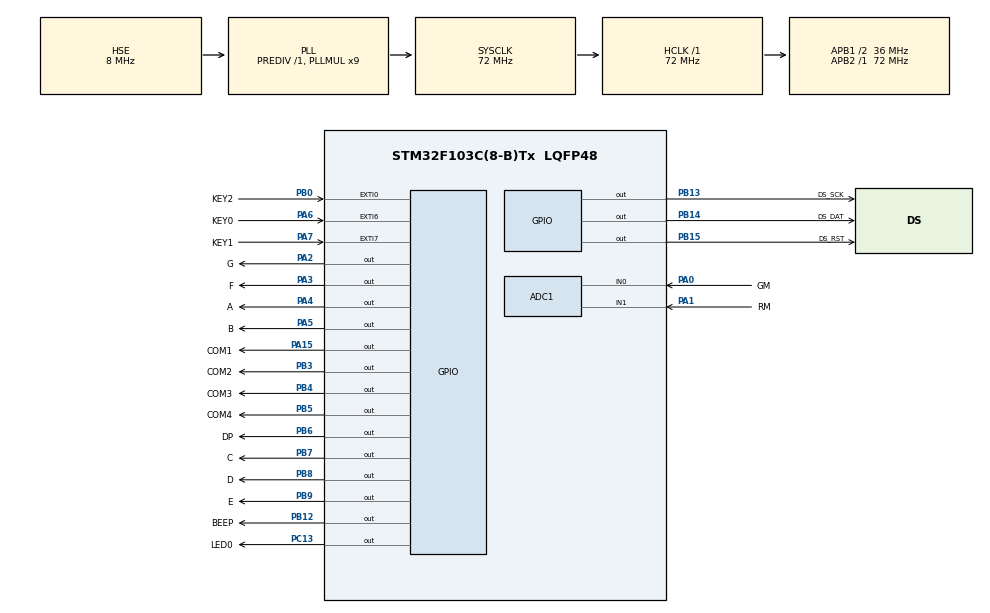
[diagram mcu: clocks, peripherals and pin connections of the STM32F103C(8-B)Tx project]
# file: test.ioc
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ADC1.Channel-0\#ChannelRegularConversion=ADC_CHANNEL_0
ADC1.NbrOfConversionFlag=1
ADC1.Rank-0\#ChannelRegularConversion=1
ADC1.SamplingTime-0\#ChannelRegularConversion=ADC_SAMPLETIME_1CYCLE_5
ADC1.master=1
Mcu.Family=STM32F1
Mcu.Name=STM32F103C(8-B)Tx
Mcu.Package=LQFP48
NVIC.EXTI0_IRQn=true\:1\:0\:true\:false\:true\:true\:true\:true
NVIC.EXTI9_5_IRQn=true\:1\:0\:true\:false\:true\:true\:true\:true
NVIC.PriorityGroup=NVIC_PRIORITYGROUP_4
NVIC.TIM1_UP_IRQn=true\:2\:0\:true\:false\:true\:true\:true\:true
NVIC.TIM2_IRQn=true\:0\:0\:false\:false\:true\:true\:true\:true
PA0-WKUP.GPIO_Label=GM
PA0-WKUP.Signal=ADCx_IN0
PA1.GPIO_Label=RM
PA1.Signal=ADCx_IN1
PA13.Mode=Serial_Wire
PA13.Signal=SYS_JTMS-SWDIO
PA14.Mode=Serial_Wire
PA14.Signal=SYS_JTCK-SWCLK
PA15.GPIO_Label=COM1
PA15.GPIO_PuPd=GPIO_PULLDOWN
PA15.GPIO_Speed=GPIO_SPEED_FREQ_HIGH
PA15.Signal=GPIO_Output
PA2.GPIO_Label=G
PA2.GPIO_PuPd=GPIO_PULLDOWN
PA2.GPIO_Speed=GPIO_SPEED_FREQ_HIGH
PA2.Signal=GPIO_Output
PA3.GPIO_Label=F
PA3.GPIO_PuPd=GPIO_PULLDOWN
PA3.GPIO_Speed=GPIO_SPEED_FREQ_HIGH
PA3.Signal=GPIO_Output
PA4.GPIO_Label=A
PA4.GPIO_PuPd=GPIO_PULLDOWN
PA4.GPIO_Speed=GPIO_SPEED_FREQ_HIGH
PA4.Signal=GPIO_Output
PA5.GPIO_Label=B
PA5.GPIO_PuPd=GPIO_PULLDOWN
PA5.GPIO_Speed=GPIO_SPEED_FREQ_HIGH
PA5.Signal=GPIO_Output
PA6.GPIO_Label=KEY0
PA6.GPIO_ModeDefaultEXTI=GPIO_MODE_IT_FALLING
PA6.GPIO_PuPd=GPIO_PULLUP
PA6.Signal=GPXTI6
PA7.GPIO_Label=KEY1
PA7.GPIO_ModeDefaultEXTI=GPIO_MODE_IT_FALLING
PA7.GPIO_PuPd=GPIO_PULLUP
PA7.Signal=GPXTI7
PB0.GPIO_Label=KEY2
PB0.GPIO_ModeDefaultEXTI=GPIO_MODE_IT_FALLING
PB0.GPIO_PuPd=GPIO_PULLUP
PB0.Signal=GPXTI0
PB12.GPIO_Label=BEEP
PB12.GPIO_PuPd=GPIO_PULLDOWN
PB12.GPIO_Speed=GPIO_SPEED_FREQ_HIGH
PB12.PinState=GPIO_PIN_RESET
PB12.Signal=GPIO_Output
PB13.GPIO_Label=DS_SCK
PB13.GPIO_PuPd=GPIO_PULLDOWN
PB13.GPIO_Speed=GPIO_SPEED_FREQ_HIGH
PB13.Signal=GPIO_Output
PB14.GPIO_Label=DS_DAT
PB14.GPIO_ModeDefaultOutputPP=GPIO_MODE_OUTPUT_OD
PB14.GPIO_PuPd=GPIO_NOPULL
PB14.GPIO_Speed=GPIO_SPEED_FREQ_HIGH
PB14.Signal=GPIO_Output
PB15.GPIO_Label=DS_RST
PB15.GPIO_ModeDefaultOutputPP=GPIO_MODE_OUTPUT_PP
PB15.GPIO_PuPd=GPIO_PULLDOWN
PB15.GPIO_Speed=GPIO_SPEED_FREQ_HIGH
PB15.Signal=GPIO_Output
PB3.GPIO_Label=COM2
PB3.GPIO_PuPd=GPIO_PULLDOWN
PB3.GPIO_Speed=GPIO_SPEED_FREQ_HIGH
PB3.Signal=GPIO_Output
PB4.GPIO_Label=COM3
PB4.GPIO_PuPd=GPIO_PULLDOWN
PB4.GPIO_Speed=GPIO_SPEED_FREQ_HIGH
PB4.Signal=GPIO_Output
PB5.GPIO_Label=COM4
PB5.GPIO_PuPd=GPIO_PULLDOWN
PB5.GPIO_Speed=GPIO_SPEED_FREQ_HIGH
PB5.Signal=GPIO_Output
PB6.GPIO_Label=DP
PB6.GPIO_PuPd=GPIO_PULLDOWN
PB6.GPIO_Speed=GPIO_SPEED_FREQ_HIGH
PB6.Signal=GPIO_Output
PB7.GPIO_Label=C
PB7.GPIO_PuPd=GPIO_PULLDOWN
PB7.GPIO_Speed=GPIO_SPEED_FREQ_HIGH
PB7.Signal=GPIO_Output
PB8.GPIO_Label=D
PB8.GPIO_PuPd=GPIO_PULLDOWN
PB8.GPIO_Speed=GPIO_SPEED_FREQ_HIGH
PB8.Signal=GPIO_Output
PB9.GPIO_Label=E
PB9.GPIO_PuPd=GPIO_PULLDOWN
PB9.GPIO_Speed=GPIO_SPEED_FREQ_HIGH
PB9.Signal=GPIO_Output
PC13-TAMPER-RTC.GPIO_Label=LED0
PC13-TAMPER-RTC.GPIO_PuPd=GPIO_PULLUP
PC13-TAMPER-RTC.GPIO_Speed=GPIO_SPEED_FREQ_HIGH
PC13-TAMPER-RTC.PinState=GPIO_PIN_SET
PC13-TAMPER-RTC.Signal=GPIO_Output
PC14-OSC32_IN.Mode=LSE-External-Oscillator
PC14-OSC32_IN.Signal=RCC_OSC32_IN
PC15-OSC32_OUT.Mode=LSE-External-Oscillator
PC15-OSC32_OUT.Signal=RCC_OSC32_OUT
PD0-OSC_IN.Mode=HSE-External-Oscillator
PD0-OSC_IN.Signal=RCC_OSC_IN
PD1-OSC_OUT.Mode=HSE-External-Oscillator
PD1-OSC_OUT.Signal=RCC_OSC_OUT
ProjectManager.HeapSize=0x200
ProjectManager.StackSize=0x400
ProjectManager.TargetToolchain=MDK-ARM V5.32
RCC.ADCPresc=RCC_ADCPCLK2_DIV6
RCC.AHBFreq_Value=72000000
RCC.APB1CLKDivider=RCC_HCLK_DIV2
RCC.APB1Freq_Value=36000000
RCC.APB1TimFreq_Value=72000000
RCC.APB2Freq_Value=72000000
RCC.APB2TimFreq_Value=72000000
RCC.HCLKFreq_Value=72000000
RCC.PLLMUL=RCC_PLL_MUL9
RCC.PLLSourceVirtual=RCC_PLLSOURCE_HSE
RCC.SYSCLKFreq_VALUE=72000000
RCC.SYSCLKSource=RCC_SYSCLKSOURCE_PLLCLK
RCC.USBFreq_Value=72000000
SH.ADCx_IN0.0=ADC1_IN0,IN0
SH.ADCx_IN1.0=ADC1_IN1,IN1
TIM1.Period=5000-1
TIM1.Prescaler=7200-1
TIM2.Period=3400-1
TIM2.Prescaler=72-1
VP_TIM1_VS_ClockSourceINT.Mode=Internal
VP_TIM2_VS_ClockSourceINT.Mode=Internal
board=custom

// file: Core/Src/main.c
/* USER CODE BEGIN Header */
/**
  ******************************************************************************
  * @file           : main.c
  * @brief          : Main program body
  ******************************************************************************
  * @attention
  *
  * Copyright (c) 2023 STMicroelectronics.
  * All rights reserved.
  *
  * This software is licensed under terms that can be found in the LICENSE file
  * in the root directory of this software component.
  * If no LICENSE file comes with this software, it is provided AS-IS.
  *
  ******************************************************************************
  */
/* USER CODE END Header */
#include "main.h"
#include "adc.h"
#include "tim.h"
#include "gpio.h"

/* USER CODE BEGIN Includes */
#include "DS1302.h"
#include "Digit.h"
#include "delay.h"

/* USER CODE END Includes */

/* USER CODE BEGIN PV */

uint8_t show_data[4]={0};
uint8_t tim1_flag=0,clk_s=0,change_flag=0,isBeep=0,isAlarm=0,isAlarmOn=0;
uint8_t state=0,state_changed=0,isSettingAlarm=0;
uint8_t index=0;
extern struct TIMEData TimeData;
uint8_t set_minute=0,set_hour=0;
uint8_t alarm_hour=0,alarm_minute=0;
/* USER CODE END PV */

void SystemClock_Config(void);

int main(void)
{
  /* USER CODE BEGIN 1 */
     u8 min=0;
  /* USER CODE END 1 */

  /* MCU Configuration--------------------------------------------------------*/

  /* Reset of all peripherals, Initializes the Flash interface and the Systick. */
  HAL_Init();

  /* Configure the system clock */
  SystemClock_Config();

  /* Initialize all configured peripherals */
  MX_GPIO_Init();
  MX_ADC1_Init();
  MX_TIM1_Init();
  MX_TIM2_Init();
  /* USER CODE BEGIN 2 */

     delay_init(72);
//     ds1302_init();
    delay_ms(5);
     ds1302_read_realTime();
     min=TimeData.minute;
     show_data[3]=TimeData.minute%10+0x30;
     show_data[2]=TimeData.minute/10+0x30;
     show_data[1]=TimeData.hour%10+0x30;
     show_data[0]=TimeData.hour/10+0x30;

     delay_ms(5);
       HAL_TIM_Base_Start_IT(&htim1);
  HAL_TIM_Base_Start_IT(&htim2);
  /* USER CODE END 2 */

  /* Infinite loop */
  while (1)
  {

    /* USER CODE BEGIN 3 */
//       HAL_Delay(1000);
//       HAL_GPIO_TogglePin(GPIOC,GPIO_PIN_13);
       if(state_changed){
            state_changed=0;
//            isBeep=1;
            set_minute=TimeData.minute;
            set_hour=TimeData.hour;
       }
       if(isAlarm) state=7;

     switch(state){
          case 0:

                    show_data[3]=TimeData.minute%10+0x30;
                    show_data[2]=TimeData.minute/10+0x30;
                    show_data[1]=TimeData.hour%10+0x30;
                    show_data[0]=TimeData.hour/10+0x30;      //state 0  显示当前时间

          break;
          case 1:                                        // state1 校准小时

              if(tim1_flag){
                    show_data[3]=TimeData.minute%10+0x30;
                    show_data[2]=TimeData.minute/10+0x30;
                   show_data[1]=set_hour%10+0x30;
                    show_data[0]=set_hour/10+0x30;
              }
              else {
                   show_data[3]=TimeData.minute%10+0x30;
                    show_data[2]=TimeData.minute/10+0x30;
                  show_data[1]=0;
                    show_data[0]=0;

              }
              if(change_flag==1) set_hour=(set_hour+1)%24;
              else  if(change_flag==2) {
                   set_hour=(set_hour==0)?(23):(set_hour-1);

              }
              change_flag=0;

              ds1302_write_time(set_hour,TimeData.minute);

          break;
          case 2:                             //state2 校准分钟
               if(tim1_flag){
                    show_data[1]=TimeData.hour%10+0x30;
                    show_data[0]=TimeData.hour/10+0x30;
                   show_data[3]=set_minute%10+0x30;
                    show_data[2]=set_minute/10+0x30;
              }
              else {
                   show_data[1]=TimeData.hour%10+0x30;
                    show_data[0]=TimeData.hour/10+0x30;
                  show_data[3]=0;
                    show_data[2]=0;

              }
              if(change_flag==1) set_minute=(set_minute+1)%60;
              else  if(change_flag==2) {
                   set_minute=(set_minute==0)?(59):(set_minute-1);

              }
              change_flag=0;

              ds1302_write_time(TimeData.hour,set_minute);

          break;
          case 4:
               if(tim1_flag){
                    show_data[3]=TimeData.minute%10+0x30;
                    show_data[2]=TimeData.minute/10+0x30;
                   show_data[1]=alarm_hour%10+0x30;
                    show_data[0]=alarm_hour/10+0x30;
              }
              else {
                   show_data[3]=TimeData.minute%10+0x30;
                    show_data[2]=TimeData.minute/10+0x30;
                  show_data[1]=0;
                    show_data[0]=0;

              }
              if(change_flag==1) alarm_hour=(alarm_hour+1)%24;
              else  if(change_flag==2) {
                   alarm_hour=(alarm_hour==0)?(23):(alarm_hour-1);

              }
              change_flag=0;
          break;
          case 5:
                if(tim1_flag){
                    show_data[1]=TimeData.hour%10+0x30;
                    show_data[0]=TimeData.hour/10+0x30;
                   show_data[3]=alarm_minute%10+0x30;
                    show_data[2]=alarm_minute/10+0x30;
              }
              else {
                   show_data[1]=TimeData.hour%10+0x30;
                    show_data[0]=TimeData.hour/10+0x30;
                  show_data[3]=0;
                    show_data[2]=0;

              }
              if(change_flag==1) alarm_minute=(alarm_minute+1)%60;
              else  if(change_flag==2) {
                   alarm_minute=(alarm_minute==0)?(59):(alarm_minute-1);

              }
              change_flag=0;
          break;

          case 7:
              if(tim1_flag){
                    show_data[1]=TimeData.hour%10+0x30;
                    show_data[0]=TimeData.hour/10+0x30;
                   show_data[3]=TimeData.minute%10+0x30;
                    show_data[2]=TimeData.minute/10+0x30;
              }
              else {
                   show_data[1]=0;
                    show_data[0]=0;
                  show_data[3]=0;
                    show_data[2]=0;

              }
              isBeep=8;
              if(!isAlarm) state=0;
          break;
    }

//                   show_num(1,show_data[0]);
//                   show_num(2,show_data[1]);
//                   show_num(3,show_data[2]);
//                   show_num(4,show_data[3]);

  }
  /* USER CODE END 3 */
}

void SystemClock_Config(void)
{
  RCC_OscInitTypeDef RCC_OscInitStruct = {0};
  RCC_ClkInitTypeDef RCC_ClkInitStruct = {0};
  RCC_PeriphCLKInitTypeDef PeriphClkInit = {0};

  /** Initializes the RCC Oscillators according to the specified parameters
  * in the RCC_OscInitTypeDef structure.
  */
  RCC_OscInitStruct.OscillatorType = RCC_OSCILLATORTYPE_HSE;
  RCC_OscInitStruct.HSEState = RCC_HSE_ON;
  RCC_OscInitStruct.HSEPredivValue = RCC_HSE_PREDIV_DIV1;
  RCC_OscInitStruct.HSIState = RCC_HSI_ON;
  RCC_OscInitStruct.PLL.PLLState = RCC_PLL_ON;
  RCC_OscInitStruct.PLL.PLLSource = RCC_PLLSOURCE_HSE;
  RCC_OscInitStruct.PLL.PLLMUL = RCC_PLL_MUL9;
  if (HAL_RCC_OscConfig(&RCC_OscInitStruct) != HAL_OK)
  {
    Error_Handler();
  }

  /** Initializes the CPU, AHB and APB buses clocks
  */
  RCC_ClkInitStruct.ClockType = RCC_CLOCKTYPE_HCLK|RCC_CLOCKTYPE_SYSCLK
                              |RCC_CLOCKTYPE_PCLK1|RCC_CLOCKTYPE_PCLK2;
  RCC_ClkInitStruct.SYSCLKSource = RCC_SYSCLKSOURCE_PLLCLK;
  RCC_ClkInitStruct.AHBCLKDivider = RCC_SYSCLK_DIV1;
  RCC_ClkInitStruct.APB1CLKDivider = RCC_HCLK_DIV2;
  RCC_ClkInitStruct.APB2CLKDivider = RCC_HCLK_DIV1;

  if (HAL_RCC_ClockConfig(&RCC_ClkInitStruct, FLASH_LATENCY_2) != HAL_OK)
  {
    Error_Handler();
  }
  PeriphClkInit.PeriphClockSelection = RCC_PERIPHCLK_ADC;
  PeriphClkInit.AdcClockSelection = RCC_ADCPCLK2_DIV6;
  if (HAL_RCCEx_PeriphCLKConfig(&PeriphClkInit) != HAL_OK)
  {
    Error_Handler();
  }
}

/* USER CODE BEGIN 4 */

void HAL_TIM_PeriodElapsedCallback(TIM_HandleTypeDef *htim)
{
  /* Prevent unused argument(s) compilation warning */
  UNUSED(htim);
   if(htim==&htim2){
          ds1302_read_realTime();    //读取此时时刻
        index=(index+1)%4;
        show_num(index+1,show_data[index]);
        if(isAlarmOn&&TimeData.hour==alarm_hour&&TimeData.minute==alarm_minute) isAlarm=1;
        if(isBeep){

          HAL_GPIO_WritePin(BEEP_GPIO_Port,BEEP_Pin,GPIO_PIN_SET);
             isBeep=isBeep-1;
        }
        else HAL_GPIO_WritePin(BEEP_GPIO_Port,BEEP_Pin,GPIO_PIN_RESET);

   }

}

void HAL_GPIO_EXTI_Callback(uint16_t GPIO_Pin)
{
  /* Prevent unused argument(s) compilation warning */
  UNUSED(GPIO_Pin);
   if(GPIO_Pin==KEY1_Pin){
        delay_ms(10);
        if(HAL_GPIO_ReadPin(KEY1_GPIO_Port,KEY1_Pin)==GPIO_PIN_RESET){
      state++;
        if(state==3||state==6) state=0;
        state_changed=1;
        isBeep=1;

        }

   }
   if(GPIO_Pin==KEY2_Pin){
                delay_ms(10);
        if(HAL_GPIO_ReadPin(KEY2_GPIO_Port,KEY2_Pin)==GPIO_PIN_RESET){
        if(state!=0)
             change_flag=1;  //加
        else {
          state=4;
          state_changed=1;
          isBeep=5;
        }
   }

   }
   if(GPIO_Pin==KEY0_Pin){
                delay_ms(10);
        if(HAL_GPIO_ReadPin(KEY0_GPIO_Port,KEY0_Pin)==GPIO_PIN_RESET){

        if(state==7){
          isAlarm=0;
          isAlarmOn=0;
        }
        else if (state==0){
          isAlarmOn=!isAlarmOn;

        } else  change_flag=2;   //减

   }

   }

}

/* USER CODE END 4 */

void Error_Handler(void)
{
  __disable_irq();
  while (1)
  {
  }
}
